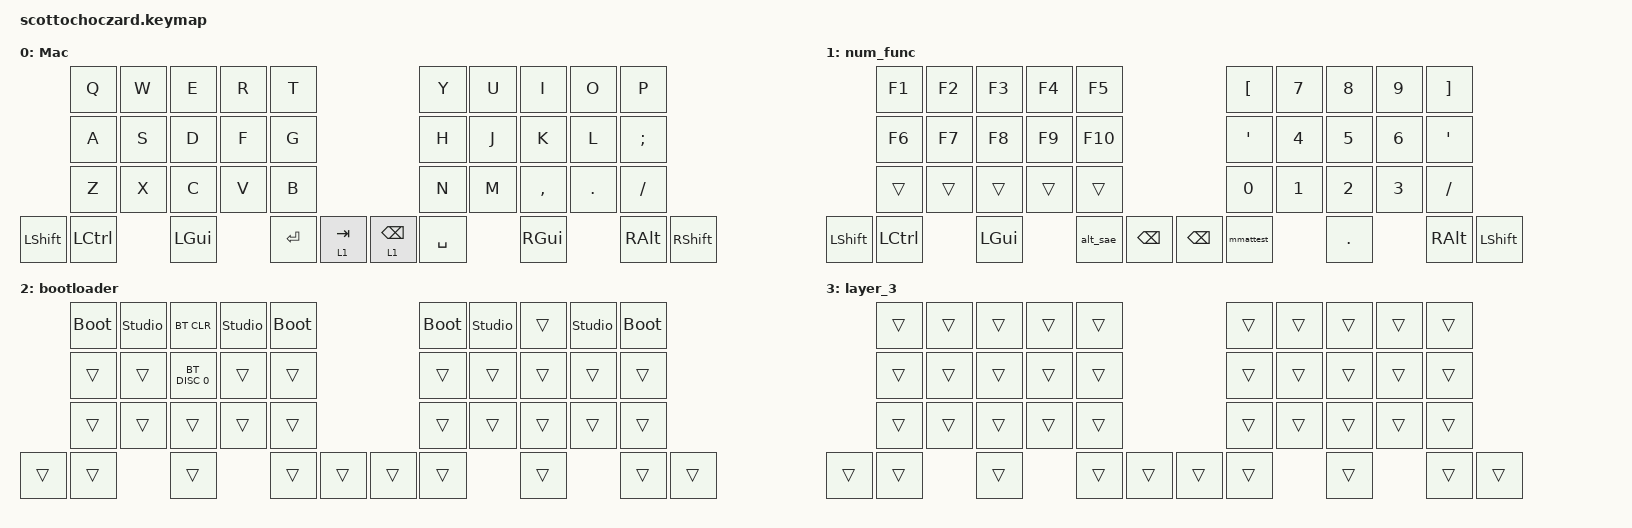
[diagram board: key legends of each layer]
#include <behaviors.dtsi>
#include <dt-bindings/zmk/bt.h>
#include <dt-bindings/zmk/keys.h>

/ {
    macros {
        alt_sae: alt_sae {
            compatible = "zmk,behavior-macro";
            #binding-cells = <0>;
            bindings = <&kp RA(RG(S)) &kp RA(RG(A)) &kp RA(RG(E))>;
            label = "ALT_SAE";
        };

        mmattest: mmattest {
            compatible = "zmk,behavior-macro";
            #binding-cells = <0>;
            bindings =
                <&kp DOT &kp M &kp M &kp A &kp T &kp E &kp S &kp T &kp ENTER>,
                <&macro_wait_time 100>,
                <&kp F2>;

            label = "MMATTEST";
        };
    };

    combos {
        compatible = "zmk,combos";

        layer2r {
            timeout-ms = <50>;
            bindings = <&mo 2>;
            key-positions = <37 36 38>;
        };

        layer2 {
            timeout-ms = <50>;
            bindings = <&mo 2>;
            key-positions = <31 32 33>;
        };

        lock {
            timeout-ms = <50>;
            bindings = <&tog 3>;
            key-positions = <30 32 34>;
        };

        lockr {
            timeout-ms = <50>;
            bindings = <&tog 3>;
            key-positions = <35 37 39>;
        };
    };

    keymap {
        compatible = "zmk,keymap";

        default_layer {
            display-name = "Mac";
            bindings = <
           &kp Q      &kp W  &kp E     &kp R  &kp T                                  &kp Y      &kp U  &kp I      &kp O    &kp P
           &kp A      &kp S  &kp D     &kp F  &kp G                                  &kp H      &kp J  &kp K      &kp L    &kp SEMI
           &kp Z      &kp X  &kp C     &kp V  &kp B                                  &kp N      &kp M  &kp COMMA  &kp DOT  &kp FSLH
&kp LSHFT  &kp LCTRL         &kp LGUI         &kp ENTER  &lt 1 TAB  &lt 1 BACKSPACE  &kp SPACE         &kp RGUI            &kp RALT  &kp RSHFT
            >;
        };

        num_func {
            bindings = <
           &kp F1     &kp F2  &kp F3    &kp F4  &kp F5                        &kp LBKT   &kp N7  &kp N8   &kp N9  &kp RBKT
           &kp F6     &kp F7  &kp F8    &kp F9  &kp F10                       &kp SQT    &kp N4  &kp N5   &kp N6  &kp APOS
           &trans     &trans  &trans    &trans  &trans                        &kp N0     &kp N1  &kp N2   &kp N3  &kp FSLH
&kp LSHFT  &kp LCTRL          &kp LGUI          &alt_sae  &kp BSPC  &kp BSPC  &mmattest          &kp DOT          &kp RALT  &kp LSHFT
            >;
        };

        bootloader {
            bindings = <
        &bootloader  &studio_unlock  &bt BT_CLR     &studio_unlock  &bootloader                  &bootloader  &studio_unlock  &trans  &studio_unlock  &bootloader
        &trans       &trans          &bt BT_DISC 0  &trans          &trans                       &trans       &trans          &trans  &trans          &trans
        &trans       &trans          &trans         &trans          &trans                       &trans       &trans          &trans  &trans          &trans
&trans  &trans                       &trans                         &trans       &trans  &trans  &trans                       &trans                  &trans       &trans
            >;
        };

        layer_3 {
            bindings = <
        &trans  &trans  &trans  &trans  &trans                  &trans  &trans  &trans  &trans  &trans
        &trans  &trans  &trans  &trans  &trans                  &trans  &trans  &trans  &trans  &trans
        &trans  &trans  &trans  &trans  &trans                  &trans  &trans  &trans  &trans  &trans
&trans  &trans          &trans          &trans  &trans  &trans  &trans          &trans          &trans  &trans
            >;
        };
    };
};
